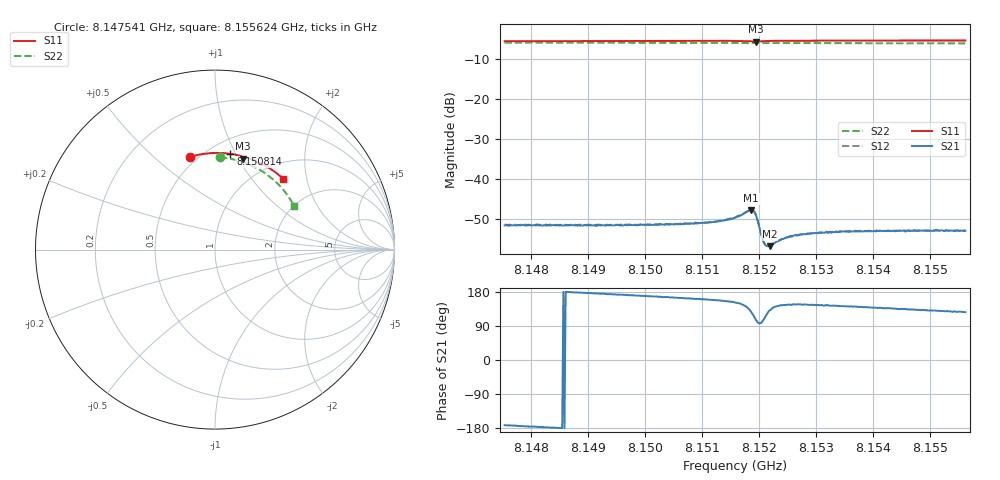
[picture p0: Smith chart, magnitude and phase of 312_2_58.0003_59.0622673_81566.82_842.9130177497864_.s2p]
#  HZ  S  RI  R  50.00
! Rohde & Schwarz Vector Network Analyzer
! Rohde-Schwarz,ZNB20-2Port,1311601062101988,3.16
! Created: UTC 3/21/2024, 1:04:14 AM
! freq[Hz]  re:S11  im:S11  re:S21  im:S21  re:S12  im:S12  re:S22  im:S22
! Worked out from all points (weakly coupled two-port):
!   401 points, 8.147541 GHz to 8.155624 GHz, reference 50 ohm
!   highest |S21| = -47.78 dB at 8.151865 GHz (marker M1); lowest = -56.8 dB at 8.152189 GHz (marker M2)
!   lowest |S11| = -5.5 dB at 8.151946 GHz (marker M3), VSWR 3.25, Z = 37.2 + j52.4 ohm
!   |S11| at or under -10 dB: nowhere
!   |S22| runs from -6.0 to -5.8 dB; largest |S21 - S12| = 0.00012
!   S11 on the Smith chart (normalised r, x): 8.147541 GHz: 0.46, +0.66; 8.150814 GHz: 0.63, +0.95; 8.155624 GHz: 1.29, +1.46
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8.147541e9  -0.1408 0.5163  -0.0026 -0.000364  -0.00268 -0.000324  0.0284 0.5133
8.1488948e9  -0.0482 0.5353  -0.00262 0.000103  -0.00267 0.000163  0.1157 0.4994
8.1502487e9  0.0459 0.5379  -0.00261 0.000621  -0.00265 0.000669  0.1988 0.4708
8.1508145e9  0.0855 0.5339  -0.00265 0.000853  -0.00261 0.000904  0.2312 0.4548
8.1512388e9  0.115 0.5286  -0.00271 0.00109  -0.00271 0.00115  0.2551 0.4412
8.1515824e9  0.1397 0.5223  -0.0029 0.00157  -0.00289 0.00158  0.2735 0.4294
8.1518248e9  0.1571 0.5125  -0.00282 0.00286  -0.00281 0.00291  0.2863 0.4203
8.1518652e9  0.1586 0.5095  -0.00247 0.00325  -0.00246 0.00331  0.2883 0.4187
8.1519057e9  0.1586 0.5069  -0.00184 0.00353  -0.00181 0.00362  0.2902 0.417
8.1519461e9  0.1574 0.5059  -0.00104 0.00344  -0.000984 0.00348  0.2923 0.4156
8.1519865e9  0.1567 0.5073  -0.000425 0.00287  -0.000382 0.0029  0.2942 0.4143
8.1520471e9  0.1592 0.5104  -0.000291 0.00195  -0.000279 0.00196  0.2973 0.4121
8.1520875e9  0.1623 0.5117  -0.000465 0.00151  -0.000452 0.00157  0.2994 0.4106
8.1521279e9  0.1658 0.5123  -0.000688 0.00129  -0.000645 0.00129  0.3015 0.4091
8.1521886e9  0.1708 0.5122  -0.000946 0.00109  -0.000931 0.00113  0.3047 0.4068
8.1523704e9  0.1848 0.5094  -0.00138 0.00102  -0.00138 0.00105  0.3139 0.3996
8.1525119e9  0.1949 0.5064  -0.00155 0.00103  -0.00154 0.00108  0.3207 0.3937
8.1526533e9  0.2047 0.5029  -0.00164 0.0011  -0.00165 0.00111  0.3275 0.3878
8.1529362e9  0.2233 0.4957  -0.00173 0.00116  -0.00171 0.00122  0.3408 0.3755
8.1534818e9  0.2578 0.4798  -0.00174 0.00136  -0.00174 0.00135  0.3651 0.3509
8.1542901e9  0.3064 0.4516  -0.00164 0.00154  -0.0016 0.00159  0.3975 0.3114
8.1556237e9  0.3788 0.3952  -0.00133 0.00181  -0.00132 0.00186  0.4416 0.2405
